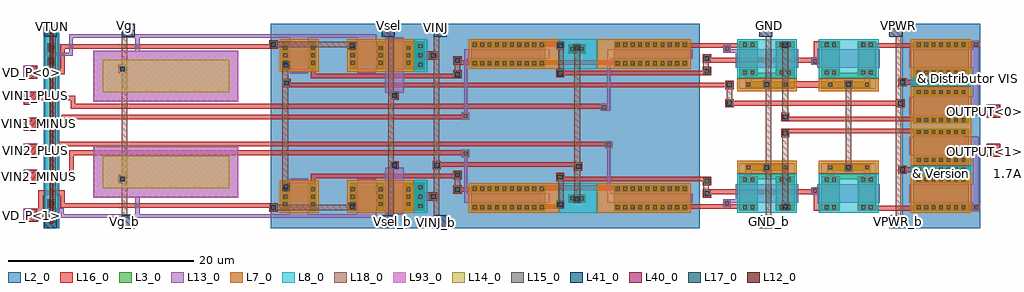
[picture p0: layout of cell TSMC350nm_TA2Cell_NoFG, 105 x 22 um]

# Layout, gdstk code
from math import pi, radians
import gdstk
lib = gdstk.Library(unit=1e-6, precision=1e-09)
def R(c, l, rs):  # rectangles x0, y0, x1, y1
    for r in rs: c.add(gdstk.rectangle(r[:2], r[2:], *l))
def A(c, l, x, y, w, h, nx, ny, dx, dy):  # array of equal rectangles
    R(c, l, [(x+i*dx, y+j*dy, x+i*dx+w, y+j*dy+h) for i in range(nx) for j in range(ny)])
L2_0 = (2, 0)
L3_0 = (3, 0)
L7_0 = (7, 0)
L8_0 = (8, 0)
L12_0 = (12, 0)
L13_0 = (13, 0)
L14_0 = (14, 0)
L15_0 = (15, 0)
L16_0 = (16, 0)
L17_0 = (17, 0)
L18_0 = (18, 0)
L40_0 = (40, 0)
L41_0 = (41, 0)
L93_0 = (93, 0)

nch_cdns_748019231870 = lib.new_cell('nch_CDNS_748019231870')
R(nch_cdns_748019231870, L3_0, [(-0.85,0,-0.15,2), (-0.85,0,-0.15,2), (-0.15,0,2.15,2), (2.15,0,2.85,2), (2.15,0,2.85,2)])
R(nch_cdns_748019231870, L8_0, [(-1.1,-0.25,3.1,2.25)])
R(nch_cdns_748019231870, L13_0, [(0,-0.4,2,2.4)])
R(nch_cdns_748019231870, L15_0, [(-0.7,0.4,-0.3,0.8), (2.3,0.4,2.7,0.8), (-0.7,1.2,-0.3,1.6), (2.3,1.2,2.7,1.6)])
R(nch_cdns_748019231870, L16_0, [(-0.85,0,-0.15,2), (2.15,0,2.85,2)])
nch_cdns_748019231870.add(gdstk.Label('D', (2.5,1), layer=59, texttype=0))
nch_cdns_748019231870.add(gdstk.Label('S', (-0.5,1), layer=59, texttype=0))
nch_cdns_748019231870.add(gdstk.Label('G', (1,1), layer=59, texttype=0))
nch_cdns_748019231870.add(gdstk.Label('& SerialNumber 000000', (0,0), layer=16, texttype=0))
nch_cdns_748019231870.add(gdstk.Label('& Distributor VIS', (0,0), layer=16, texttype=0))
nch_cdns_748019231870.add(gdstk.Label('& Metric 1', (0,0), layer=16, texttype=0))
nch_cdns_748019231870.add(gdstk.Label('& Version    \t  1.7A', (0,0), layer=16, texttype=0))
nch_cdns_748019231870.add(gdstk.Label('& PDKName     vis35cv', (0,0), layer=16, texttype=0))
nch_cdns_748019231870.add(gdstk.Label('& Vendor VIS Corp.', (0,0), layer=16, texttype=0))
nch_cdns_748019231870.add(gdstk.Label('& SerialNumber 000000', (0,0), layer=63, texttype=63))
nch_cdns_748019231870.add(gdstk.Label('& Distributor VIS', (0,0), layer=63, texttype=63))
nch_cdns_748019231870.add(gdstk.Label('& Metric 1', (0,0), layer=63, texttype=63))
nch_cdns_748019231870.add(gdstk.Label('& Version    \t  1.7A', (0,0), layer=63, texttype=63))
nch_cdns_748019231870.add(gdstk.Label('& PDKName     vis35cv', (0,0), layer=63, texttype=63))
nch_cdns_748019231870.add(gdstk.Label('& Vendor VIS Corp.', (0,0), layer=63, texttype=63))

pch_cdns_748019231871 = lib.new_cell('pch_CDNS_748019231871')
R(pch_cdns_748019231871, L2_0, [(-2.05,-1.2,3.05,9.2)])
R(pch_cdns_748019231871, L3_0, [(-0.85,0,-0.15,8), (-0.85,0,-0.15,8), (-0.15,0,1.15,8), (1.15,0,1.85,8), (1.15,0,1.85,8)])
R(pch_cdns_748019231871, L7_0, [(-1.1,-0.25,2.1,8.25)])
R(pch_cdns_748019231871, L13_0, [(0,-0.4,1,8.4)])
A(pch_cdns_748019231871, L15_0, -0.7, 0.2, 0.4, 0.4, 1, 10, 0, 0.8)
A(pch_cdns_748019231871, L15_0, 1.3, 0.2, 0.4, 0.4, 1, 10, 0, 0.8)
R(pch_cdns_748019231871, L16_0, [(-0.85,0,-0.15,8), (1.15,0,1.85,8)])
pch_cdns_748019231871.add(gdstk.Label('D', (1.5,4), layer=59, texttype=0))
pch_cdns_748019231871.add(gdstk.Label('S', (-0.5,4), layer=59, texttype=0))
pch_cdns_748019231871.add(gdstk.Label('G', (0.5,4), layer=59, texttype=0))
pch_cdns_748019231871.add(gdstk.Label('& SerialNumber 000000', (0,0), layer=16, texttype=0))
pch_cdns_748019231871.add(gdstk.Label('& Distributor VIS', (0,0), layer=16, texttype=0))
pch_cdns_748019231871.add(gdstk.Label('& Metric 1', (0,0), layer=16, texttype=0))
pch_cdns_748019231871.add(gdstk.Label('& Version    \t  1.7A', (0,0), layer=16, texttype=0))
pch_cdns_748019231871.add(gdstk.Label('& PDKName     vis35cv', (0,0), layer=16, texttype=0))
pch_cdns_748019231871.add(gdstk.Label('& Vendor VIS Corp.', (0,0), layer=16, texttype=0))
pch_cdns_748019231871.add(gdstk.Label('& SerialNumber 000000', (0,0), layer=63, texttype=63))
pch_cdns_748019231871.add(gdstk.Label('& Distributor VIS', (0,0), layer=63, texttype=63))
pch_cdns_748019231871.add(gdstk.Label('& Metric 1', (0,0), layer=63, texttype=63))
pch_cdns_748019231871.add(gdstk.Label('& Version    \t  1.7A', (0,0), layer=63, texttype=63))
pch_cdns_748019231871.add(gdstk.Label('& PDKName     vis35cv', (0,0), layer=63, texttype=63))
pch_cdns_748019231871.add(gdstk.Label('& Vendor VIS Corp.', (0,0), layer=63, texttype=63))

pch_cdns_748019231872 = lib.new_cell('pch_CDNS_748019231872')
R(pch_cdns_748019231872, L2_0, [(-2.05,-1.2,4.05,4.2)])
R(pch_cdns_748019231872, L3_0, [(-0.85,0,-0.15,3), (-0.85,0,-0.15,3), (-0.15,0,2.15,3), (2.15,0,2.85,3), (2.15,0,2.85,3)])
R(pch_cdns_748019231872, L7_0, [(-1.1,-0.25,3.1,3.25)])
R(pch_cdns_748019231872, L13_0, [(0,-0.4,2,3.4)])
A(pch_cdns_748019231872, L15_0, -0.7, 0.5, 0.4, 0.4, 1, 3, 0, 0.8)
A(pch_cdns_748019231872, L15_0, 2.3, 0.5, 0.4, 0.4, 1, 3, 0, 0.8)
R(pch_cdns_748019231872, L16_0, [(-0.85,0,-0.15,3), (2.15,0,2.85,3)])
pch_cdns_748019231872.add(gdstk.Label('D', (2.5,1.5), layer=59, texttype=0))
pch_cdns_748019231872.add(gdstk.Label('S', (-0.5,1.5), layer=59, texttype=0))
pch_cdns_748019231872.add(gdstk.Label('G', (1,1.5), layer=59, texttype=0))
pch_cdns_748019231872.add(gdstk.Label('& SerialNumber 000000', (0,0), layer=16, texttype=0))
pch_cdns_748019231872.add(gdstk.Label('& Distributor VIS', (0,0), layer=16, texttype=0))
pch_cdns_748019231872.add(gdstk.Label('& Metric 1', (0,0), layer=16, texttype=0))
pch_cdns_748019231872.add(gdstk.Label('& Version    \t  1.7A', (0,0), layer=16, texttype=0))
pch_cdns_748019231872.add(gdstk.Label('& PDKName     vis35cv', (0,0), layer=16, texttype=0))
pch_cdns_748019231872.add(gdstk.Label('& Vendor VIS Corp.', (0,0), layer=16, texttype=0))
pch_cdns_748019231872.add(gdstk.Label('& SerialNumber 000000', (0,0), layer=63, texttype=63))
pch_cdns_748019231872.add(gdstk.Label('& Distributor VIS', (0,0), layer=63, texttype=63))
pch_cdns_748019231872.add(gdstk.Label('& Metric 1', (0,0), layer=63, texttype=63))
pch_cdns_748019231872.add(gdstk.Label('& Version    \t  1.7A', (0,0), layer=63, texttype=63))
pch_cdns_748019231872.add(gdstk.Label('& PDKName     vis35cv', (0,0), layer=63, texttype=63))
pch_cdns_748019231872.add(gdstk.Label('& Vendor VIS Corp.', (0,0), layer=63, texttype=63))

pch_cdns_748019231873 = lib.new_cell('pch_CDNS_748019231873')
R(pch_cdns_748019231873, L2_0, [(-2.05,-1.2,7.05,4.2)])
A(pch_cdns_748019231873, L3_0, -0.85, 0, 0.7, 3, 3, 1, 3, 0)
R(pch_cdns_748019231873, L3_0, [(-0.85,0,-0.15,3), (-0.15,0,2.15,3), (2.85,0,5.15,3), (5.15,0,5.85,3)])
R(pch_cdns_748019231873, L7_0, [(-1.1,-0.25,6.1,3.25)])
R(pch_cdns_748019231873, L13_0, [(0,-0.4,2,3.4), (3,-0.4,5,3.4)])
A(pch_cdns_748019231873, L15_0, -0.7, 0.5, 0.4, 0.4, 3, 3, 3, 0.8)
A(pch_cdns_748019231873, L16_0, -0.85, 0, 0.7, 3, 3, 1, 3, 0)
pch_cdns_748019231873.add(gdstk.Label('D', (2.5,1.5), layer=59, texttype=0))
pch_cdns_748019231873.add(gdstk.Label('S', (-0.5,1.5), layer=59, texttype=0))
pch_cdns_748019231873.add(gdstk.Label('S', (5.5,1.5), layer=59, texttype=0))
pch_cdns_748019231873.add(gdstk.Label('G', (4,1.5), layer=59, texttype=0))
pch_cdns_748019231873.add(gdstk.Label('G', (1,1.5), layer=59, texttype=0))
pch_cdns_748019231873.add(gdstk.Label('& SerialNumber 000000', (0,0), layer=16, texttype=0))
pch_cdns_748019231873.add(gdstk.Label('& Distributor VIS', (0,0), layer=16, texttype=0))
pch_cdns_748019231873.add(gdstk.Label('& Metric 1', (0,0), layer=16, texttype=0))
pch_cdns_748019231873.add(gdstk.Label('& Version    \t  1.7A', (0,0), layer=16, texttype=0))
pch_cdns_748019231873.add(gdstk.Label('& PDKName     vis35cv', (0,0), layer=16, texttype=0))
pch_cdns_748019231873.add(gdstk.Label('& Vendor VIS Corp.', (0,0), layer=16, texttype=0))
pch_cdns_748019231873.add(gdstk.Label('& SerialNumber 000000', (0,0), layer=63, texttype=63))
pch_cdns_748019231873.add(gdstk.Label('& Distributor VIS', (0,0), layer=63, texttype=63))
pch_cdns_748019231873.add(gdstk.Label('& Metric 1', (0,0), layer=63, texttype=63))
pch_cdns_748019231873.add(gdstk.Label('& Version    \t  1.7A', (0,0), layer=63, texttype=63))
pch_cdns_748019231873.add(gdstk.Label('& PDKName     vis35cv', (0,0), layer=63, texttype=63))
pch_cdns_748019231873.add(gdstk.Label('& Vendor VIS Corp.', (0,0), layer=63, texttype=63))

m1_poly1_cdns_7480192318 = lib.new_cell('M1_POLY1_CDNS_748019231870')
R(m1_poly1_cdns_7480192318, L13_0, [(-0.4,-0.4,0.4,0.4)])
R(m1_poly1_cdns_7480192318, L15_0, [(-0.2,-0.2,0.2,0.2)])
R(m1_poly1_cdns_7480192318, L16_0, [(-0.35,-0.35,0.35,0.35)])

m2_m1_cdns_748019231871 = lib.new_cell('M2_M1_CDNS_748019231871')
R(m2_m1_cdns_748019231871, L16_0, [(-0.45,-0.45,0.45,0.45)])
R(m2_m1_cdns_748019231871, L17_0, [(-0.25,-0.25,0.25,0.25)])
R(m2_m1_cdns_748019231871, L18_0, [(-0.4,-0.4,0.4,0.4)])

m1_pactive_cdns_74801923 = lib.new_cell('M1_PACTIVE_CDNS_748019231872')
R(m1_pactive_cdns_74801923, L3_0, [(-0.45,-0.45,0.45,0.45)])
R(m1_pactive_cdns_74801923, L7_0, [(-0.7,-0.7,0.7,0.7)])
R(m1_pactive_cdns_74801923, L15_0, [(-0.2,-0.2,0.2,0.2)])
R(m1_pactive_cdns_74801923, L16_0, [(-0.35,-0.35,0.35,0.35)])

m1_nactive_cdns_74801923 = lib.new_cell('M1_NACTIVE_CDNS_748019231873')
R(m1_nactive_cdns_74801923, L3_0, [(-0.95,-0.45,0.95,0.45)])
R(m1_nactive_cdns_74801923, L8_0, [(-1.2,-0.7,1.2,0.7)])
R(m1_nactive_cdns_74801923, L15_0, [(-0.7,-0.2,-0.3,0.2), (0.3,-0.2,0.7,0.2)])
R(m1_nactive_cdns_74801923, L16_0, [(-0.85,-0.35,0.85,0.35)])

c_m1_nactive_cdns_74801923 = lib.new_cell('M1_NACTIVE_CDNS_748019231874')
R(c_m1_nactive_cdns_74801923, L3_0, [(-0.45,-1.45,0.45,1.45)])
R(c_m1_nactive_cdns_74801923, L8_0, [(-0.7,-1.7,0.7,1.7)])
A(c_m1_nactive_cdns_74801923, L15_0, -0.2, -1.2, 0.4, 0.4, 1, 3, 0, 1)
R(c_m1_nactive_cdns_74801923, L16_0, [(-0.35,-1.35,0.35,1.35)])

c_m1_poly1_cdns_7480192318 = lib.new_cell('M1_POLY1_CDNS_748019231875')
R(c_m1_poly1_cdns_7480192318, L13_0, [(-0.4,-0.4,0.4,0.4)])
R(c_m1_poly1_cdns_7480192318, L15_0, [(-0.2,-0.2,0.2,0.2)])
R(c_m1_poly1_cdns_7480192318, L16_0, [(-0.45,-0.45,0.45,0.45)])

tsmc350nm_ta2cell_nofg = lib.new_cell('TSMC350nm_TA2Cell_NoFG')
R(tsmc350nm_ta2cell_nofg, L2_0, [(2.1,0,3.8,11.02), (26.555,0,72.68,22), (94.46,0,102.86,8.26), (94.46,6.54,102.86,12.05), (94.46,10.1,102.86,15.61), (2.1,11.02,3.8,22), (94.46,13.74,102.86,22)])
R(tsmc350nm_ta2cell_nofg, L3_0, [(2.6,0.88,3.3,1.58), (41.72,1.9,43.12,4.9), (95.66,1.9,101.66,2.6), (95.66,1.9,101.66,2.6), (2.6,2.33,3.3,3.03), (95.66,2.6,101.66,4.9), (95.66,4.9,101.66,5.6), (95.66,4.9,101.66,5.6), (76.96,5.28,82.9,7), (85.75,5.28,91.69,7), (95.66,5.58,101.66,7.04), (95.66,7,101.66,7.7), (95.66,7,101.66,7.7), (95.66,7.7,101.66,10), (95.66,10,101.66,10.7), (95.66,10,101.66,10.7), (95.66,11.3,101.66,12), (95.66,11.3,101.66,12), (95.66,12,101.66,14.3), (95.66,14.3,101.66,15), (95.66,14.3,101.66,15), (95.66,14.96,101.66,16.42), (76.96,15,82.9,16.72), (85.75,15,91.69,16.72), (95.66,16.4,101.66,17.1), (95.66,16.4,101.66,17.1), (41.72,17.1,43.12,20.1), (95.66,17.1,101.66,19.4), (2.6,17.65,3.3,18.35), (2.6,19.1,3.3,19.8), (95.66,19.4,101.66,20.1), (95.66,19.4,101.66,20.1)])
R(tsmc350nm_ta2cell_nofg, L7_0, [(56.34,1.65,57.57,4.85), (61.62,1.65,63.23,4.85), (95.41,1.65,101.91,5.85), (76.71,5.85,83.15,7.25), (85.5,5.85,91.94,7.25), (95.41,6.75,101.91,10.95), (95.41,10.92,101.91,15.25), (76.71,14.75,83.15,16.15), (85.5,14.75,91.94,16.15), (95.41,16.15,101.91,20.35), (56.34,17.15,57.57,20.35), (61.62,17.15,63.23,20.35)])
R(tsmc350nm_ta2cell_nofg, L8_0, [(2.25,0,3.65,11.02), (41.97,1.65,43.37,1.7), (57.57,1.65,61.62,4.85), (79.21,1.65,80.65,5.85), (88,1.65,89.44,5.85), (41.97,5.1,43.37,5.15), (95.41,5.85,101.91,6.75), (2.25,11.02,3.65,22), (95.41,15.25,101.91,16.15), (79.21,16.15,80.65,20.35), (88,16.15,89.44,20.35), (41.97,16.85,43.37,16.9), (57.57,17.15,61.62,20.35), (41.97,20.3,43.37,20.35)])
R(tsmc350nm_ta2cell_nofg, L12_0, [(2.75,0.56,3.15,10.71), (2.75,11.32,3.15,21.47)])
R(tsmc350nm_ta2cell_nofg, L13_0, [(27.07,1.15,37.87,1.5), (11.975,1.455,12.475,3.3), (102.05,1.89,102.73,9.86), (47.34,2.75,47.69,7.925), (62.73,2.75,63.08,8.88), (75.89,2.75,76.56,3.1), (79.33,2.75,80.7,4.75), (88.12,2.75,89.49,4.75), (95.26,2.75,102.06,4.75), (7.475,3.3,23.075,8.8), (10.215,4.9,11.015,5.7), (38.87,5.3,40.87,6.53), (95.26,7.85,102.06,9.85), (47.34,11.885,47.69,19.25), (102.05,12.14,102.73,20.08), (95.26,12.15,102.06,14.15), (62.73,12.62,63.08,19.25), (7.475,13.615,23.075,19.115), (38.87,14.59,40.87,16.7), (10.215,16.715,11.015,17.515), (79.33,17.25,80.7,19.25), (88.12,17.25,89.49,19.25), (95.26,17.25,102.06,19.25), (11.975,18.755,12.475,20.6), (75.89,18.9,76.56,19.25), (27.07,20.5,37.87,20.85)])
R(tsmc350nm_ta2cell_nofg, L14_0, [(8.475,4.3,22.075,7.8), (8.475,14.615,22.075,18.115)])
A(tsmc350nm_ta2cell_nofg, L15_0, 96.06, 2.05, 0.4, 0.4, 7, 2, 0.8, 3)
A(tsmc350nm_ta2cell_nofg, L15_0, 96.06, 6.1, 0.4, 0.4, 7, 2, 0.8, 1.05)
A(tsmc350nm_ta2cell_nofg, L15_0, 96.06, 10.15, 0.4, 0.4, 7, 2, 0.8, 1.3)
A(tsmc350nm_ta2cell_nofg, L15_0, 96.06, 14.45, 0.4, 0.4, 7, 3, 0.8, 1.05)
A(tsmc350nm_ta2cell_nofg, L15_0, 96.06, 19.55, 0.4, 0.4, 7, 1, 0.8, 0)
R(tsmc350nm_ta2cell_nofg, L15_0, [(2.75,1.03,3.15,1.43), (2.75,2.48,3.15,2.88), (10.415,5.1,10.815,5.5), (10.415,16.915,10.815,17.315), (2.75,17.8,3.15,18.2), (2.75,19.25,3.15,19.65)])
A(tsmc350nm_ta2cell_nofg, L16_0, 0, 4.9, 1.4, 1.4, 1, 5, 0, 2.8)
R(tsmc350nm_ta2cell_nofg, L16_0, [(0,0.7,1.55,2.1), (2.5,0.78,3.4,1.68), (2.5,0.78,3.4,1.68), (84.94,1.9,85.79,2.6), (91.69,1.9,95.68,2.4), (95.66,1.9,101.66,2.6), (101.66,1.9,102.63,2.6), (41.72,2.05,42.32,4.75), (84.94,2.07,85.44,3.68), (56.09,2.1,58.12,2.6), (71.38,2.1,76.97,2.6), (2.5,2.23,3.4,3.13), (2.5,2.23,3.4,3.13), (43.005,2.96,43.57,3.86), (73.01,3.68,84.74,4.18), (46.74,3.9,48.09,4.4), (56.09,4.1,63.48,4.6), (10.165,4.85,11.065,5.75), (10.165,4.85,11.065,5.75), (95.66,4.9,101.66,5.6), (57.5,5.05,73.19,5.55), (81.56,5.52,82.26,6.26), (81.56,5.52,82.26,6.26), (90.35,5.52,91.05,6.26), (77.6,5.58,78.3,6.26), (77.6,5.58,78.3,6.26), (86.39,5.58,87.09,6.26), (95.66,5.59,101.66,7.03), (94.06,5.84,94.96,6.74), (94.26,6.04,95.66,6.54), (78.05,6.2,81.74,6.9), (86.84,6.2,90.53,6.9), (44.085,6.61,59.67,7.11), (95.66,7,101.66,7.7), (103.6,7.7,105,9.1), (4.925,7.88,47.17,8.38), (4.005,8.83,62.565,9.33), (95.66,10,101.66,10.7), (81.63,10.2,95.66,10.7), (95.66,11.3,101.66,12), (81.63,11.5,95.66,12), (4.355,11.72,47.14,12.22), (103.6,11.9,105,13.3), (5.16,12.87,62.08,13.37), (95.66,14.3,101.66,15), (95.66,14.97,101.66,16.41), (78.05,15.1,86.5,15.8), (86.84,15.1,90.53,15.8), (27.89,15.17,74.67,15.67), (94.06,15.25,94.96,16.15), (94.26,15.45,95.66,15.95), (77.6,15.74,78.3,16.42), (81.56,15.74,82.26,16.48), (86.39,15.74,87.09,16.42), (90.35,15.74,91.05,16.48), (95.66,16.4,101.66,17.1), (57.5,16.45,73.19,16.95), (10.165,16.665,11.065,17.565), (10.165,16.665,11.065,17.565), (41.72,17.25,42.32,19.95), (2.5,17.55,3.4,18.45), (2.5,17.55,3.4,18.45), (46.74,17.6,48.09,18.1), (56.09,17.6,63.48,18.1), (73.01,17.82,84.74,18.32), (43.005,18.14,43.57,19.04), (84.94,18.32,85.44,19.93), (2.5,19,3.4,19.9), (71.38,19.4,76.97,19.9), (84.94,19.4,85.79,20.1), (91.69,19.4,95.68,19.9), (95.66,19.4,101.66,20.1), (101.66,19.4,102.8,20.1), (56.09,19.6,58.12,20.1)])
R(tsmc350nm_ta2cell_nofg, L17_0, [(2.7,0.98,3.2,1.48), (2.7,2.43,3.2,2.93), (10.365,5.05,10.865,5.55), (94.26,6.04,94.76,6.54), (94.26,15.45,94.76,15.95), (10.365,16.865,10.865,17.365), (2.7,17.75,3.2,18.25), (2.7,19.2,3.2,19.7)])
R(tsmc350nm_ta2cell_nofg, L18_0, [(2.1,0,3.5,1.395), (10.5,0,11.9,1.4), (10.5,0,11.1,22), (38.5,0,39.9,1.4), (39.2,0,39.8,22), (44.1,0,45.5,1.4), (44.1,0,44.7,22), (79.1,0,80.5,1.4), (79.8,0,80.4,22), (93.1,0,94.5,1.4), (93.8,0,94.4,22), (2.55,0.83,3.35,1.63), (27.225,1.95,34.87,2.55), (57.49,2.27,58.09,5.1), (2.55,2.28,3.35,3.08), (81.6,2.28,82.2,10.14), (59.22,3.06,59.82,19.16), (73.06,4.13,73.66,5.17), (27.805,4.85,28.405,17.215), (10.215,4.9,11.015,5.7), (94.11,5.89,94.91,6.69), (88.42,6.37,89.02,15.8), (81.6,12.08,82.2,19.94), (94.11,15.3,94.91,16.1), (10.215,16.715,11.015,17.515), (57.49,16.73,58.09,19.93), (73.06,16.83,73.66,17.87), (2.55,17.6,3.35,18.4), (2.55,19.05,3.35,19.85), (27.225,19.45,34.87,20.05), (10.5,20.6,11.9,22), (38.5,20.6,39.9,22), (44.1,20.6,45.5,22), (79.1,20.6,80.5,22), (93.1,20.6,94.5,22), (2.1,20.605,3.5,22)])
A(tsmc350nm_ta2cell_nofg, L40_0, 0, 4.9, 1.4, 1.4, 1, 5, 0, 2.8)
R(tsmc350nm_ta2cell_nofg, L40_0, [(0,0.7,1.395,2.1), (103.6,7.7,105,9.1), (103.6,11.9,105,13.3)])
R(tsmc350nm_ta2cell_nofg, L41_0, [(2.1,0,3.5,1.395), (10.5,0,11.9,1.4), (38.5,0,39.9,1.4), (44.1,0,45.5,1.4), (79.1,0,80.5,1.4), (93.1,0,94.5,1.4), (10.5,20.6,11.9,22), (38.5,20.6,39.9,22), (44.1,20.6,45.5,22), (79.1,20.6,80.5,22), (93.1,20.6,94.5,22), (2.1,20.605,3.5,22)])
R(tsmc350nm_ta2cell_nofg, L93_0, [(7.525,3.35,23.025,8.75), (7.525,13.665,23.025,19.065)])
tsmc350nm_ta2cell_nofg.add(gdstk.FlexPath([(101.41,8.4),(105,8.4)], 0.5, ends=(0.25, 0), simple_path=True, layer=16, datatype=0))  # L16_0
tsmc350nm_ta2cell_nofg.add(gdstk.FlexPath([(26.84,19.75),(26.84,19.55)], 0.9, ends=(0, 0.25), simple_path=True, layer=16, datatype=0))  # L16_0
tsmc350nm_ta2cell_nofg.add(gdstk.FlexPath([(101.41,11.65),(101.41,12.6)], 0.5, ends=(0.35, 0.25), simple_path=True, layer=16, datatype=0))  # L16_0
tsmc350nm_ta2cell_nofg.add(gdstk.FlexPath([(101.41,10),(101.41,8.4)], 0.5, ends=(0, 0.25), simple_path=True, layer=16, datatype=0))  # L16_0
tsmc350nm_ta2cell_nofg.add(gdstk.FlexPath([(4.01,8.4),(0,8.4)], 0.5, ends=(0.25, 0), simple_path=True, layer=16, datatype=0))  # L16_0
tsmc350nm_ta2cell_nofg.add(gdstk.FlexPath([(4.01,9.08),(4.01,8.4)], 0.5, ends="extended", simple_path=True, layer=16, datatype=0))  # L16_0
tsmc350nm_ta2cell_nofg.add(gdstk.FlexPath([(5.1,5.6),(0,5.6)], 0.5, ends=(0.25, 0), simple_path=True, layer=16, datatype=0))  # L16_0
tsmc350nm_ta2cell_nofg.add(gdstk.FlexPath([(5,8.13),(5.1,8.13)], 0.5, ends=(0, 0.25), simple_path=True, layer=16, datatype=0))  # L16_0
tsmc350nm_ta2cell_nofg.add(gdstk.FlexPath([(4.31,11.2),(0,11.2)], 0.5, ends=(0.25, 0), simple_path=True, layer=16, datatype=0))  # L16_0
tsmc350nm_ta2cell_nofg.add(gdstk.FlexPath([(5.1,8.13),(5.1,5.6)], 0.5, ends="extended", simple_path=True, layer=16, datatype=0))  # L16_0
tsmc350nm_ta2cell_nofg.add(gdstk.FlexPath([(1.8,3.83),(1.8,1.4)], 0.5, ends="extended", simple_path=True, layer=16, datatype=0))  # L16_0
tsmc350nm_ta2cell_nofg.add(gdstk.FlexPath([(1.8,1.4),(0,1.4)], 0.5, ends=(0.25, 0), simple_path=True, layer=16, datatype=0))  # L16_0
tsmc350nm_ta2cell_nofg.add(gdstk.FlexPath([(101.41,12.6),(105,12.6)], 0.5, ends=(0.25, 0), simple_path=True, layer=16, datatype=0))  # L16_0
tsmc350nm_ta2cell_nofg.add(gdstk.FlexPath([(75.88,13.45),(94.54,13.45)], 0.5, ends="flush", simple_path=True, layer=16, datatype=0))  # L16_0
tsmc350nm_ta2cell_nofg.add(gdstk.FlexPath([(74.67,15.42),(75.88,15.42)], 0.5, ends="flush", simple_path=True, layer=16, datatype=0))  # L16_0
tsmc350nm_ta2cell_nofg.add(gdstk.FlexPath([(31.08,5.63),(31.08,4.86)], 0.5, ends=(0.25, 0), simple_path=True, layer=16, datatype=0))  # L16_0
tsmc350nm_ta2cell_nofg.add(gdstk.FlexPath([(46.63,5.63),(31.08,5.63)], 0.5, ends=(0, 0.25), simple_path=True, layer=16, datatype=0))  # L16_0
tsmc350nm_ta2cell_nofg.add(gdstk.FlexPath([(46.74,4.15),(46.63,4.15)], 0.5, ends="flush", simple_path=True, layer=16, datatype=0))  # L16_0
tsmc350nm_ta2cell_nofg.add(gdstk.FlexPath([(26.84,19.55),(4.13,19.55)], 0.5, ends=(0.45, 0.25), simple_path=True, layer=16, datatype=0))  # L16_0
tsmc350nm_ta2cell_nofg.add(gdstk.FlexPath([(4.13,19.55),(4.13,16.8)], 0.5, ends="extended", simple_path=True, layer=16, datatype=0))  # L16_0
tsmc350nm_ta2cell_nofg.add(gdstk.FlexPath([(4.13,16.8),(0,16.8)], 0.5, ends=(0.25, 0), simple_path=True, layer=16, datatype=0))  # L16_0
tsmc350nm_ta2cell_nofg.add(gdstk.FlexPath([(26.84,2.45),(4.13,2.45)], 0.5, ends=(0.45, 0.25), simple_path=True, layer=16, datatype=0))  # L16_0
tsmc350nm_ta2cell_nofg.add(gdstk.FlexPath([(5.27,13.12),(5.29,13.12)], 0.5, ends=(0, 0.25), simple_path=True, layer=16, datatype=0))  # L16_0
tsmc350nm_ta2cell_nofg.add(gdstk.FlexPath([(4.13,3.83),(1.8,3.83)], 0.5, ends="extended", simple_path=True, layer=16, datatype=0))  # L16_0
tsmc350nm_ta2cell_nofg.add(gdstk.FlexPath([(4.36,11.97),(4.31,11.97)], 0.5, ends=(0, 0.25), simple_path=True, layer=16, datatype=0))  # L16_0
tsmc350nm_ta2cell_nofg.add(gdstk.FlexPath([(5.29,13.12),(5.29,14)], 0.5, ends="extended", simple_path=True, layer=16, datatype=0))  # L16_0
tsmc350nm_ta2cell_nofg.add(gdstk.FlexPath([(4.13,2.45),(4.13,3.83)], 0.5, ends="extended", simple_path=True, layer=16, datatype=0))  # L16_0
tsmc350nm_ta2cell_nofg.add(gdstk.FlexPath([(5.29,14),(0,14)], 0.5, ends=(0.25, 0), simple_path=True, layer=16, datatype=0))  # L16_0
tsmc350nm_ta2cell_nofg.add(gdstk.FlexPath([(4.31,11.97),(4.31,11.2)], 0.5, ends="extended", simple_path=True, layer=16, datatype=0))  # L16_0
tsmc350nm_ta2cell_nofg.add(gdstk.FlexPath([(46.63,16.37),(31.08,16.37)], 0.5, ends=(0, 0.25), simple_path=True, layer=16, datatype=0))  # L16_0
tsmc350nm_ta2cell_nofg.add(gdstk.FlexPath([(46.74,17.85),(46.63,17.85)], 0.5, ends="flush", simple_path=True, layer=16, datatype=0))  # L16_0
tsmc350nm_ta2cell_nofg.add(gdstk.FlexPath([(31.08,16.37),(31.08,17.14)], 0.5, ends=(0.25, 0), simple_path=True, layer=16, datatype=0))  # L16_0
tsmc350nm_ta2cell_nofg.add(gdstk.FlexPath([(4.115,1.955),(2.34,1.955)], 0.35, ends=(0.175, 0), simple_path=True, layer=13, datatype=0))  # L13_0
tsmc350nm_ta2cell_nofg.add(gdstk.FlexPath([(4.115,1.325),(4.115,1.955)], 0.35, ends="extended", simple_path=True, layer=13, datatype=0))  # L13_0
tsmc350nm_ta2cell_nofg.add(gdstk.FlexPath([(27.07,1.325),(4.115,1.325)], 0.35, ends=(0, 0.175), simple_path=True, layer=13, datatype=0))  # L13_0
tsmc350nm_ta2cell_nofg.add(gdstk.FlexPath([(5.055,18.725),(5.055,20.675)], 0.35, ends="extended", simple_path=True, layer=13, datatype=0))  # L13_0
tsmc350nm_ta2cell_nofg.add(gdstk.FlexPath([(5.055,20.675),(27.07,20.675)], 0.35, ends=(0.175, 0), simple_path=True, layer=13, datatype=0))  # L13_0
tsmc350nm_ta2cell_nofg.add(gdstk.FlexPath([(2.35,18.725),(5.055,18.725)], 0.35, ends=(0, 0.175), simple_path=True, layer=13, datatype=0))  # L13_0
tsmc350nm_ta2cell_nofg.add(gdstk.FlexPath([(27.23,19.75),(26.84,19.75)], 0.6, ends="flush", simple_path=True, layer=18, datatype=0))  # L18_0
tsmc350nm_ta2cell_nofg.add(gdstk.FlexPath([(75.88,15.42),(75.88,13.45)], 0.6, ends="flush", simple_path=True, layer=18, datatype=0))  # L18_0
tsmc350nm_ta2cell_nofg.add(gdstk.FlexPath([(46.63,4.15),(46.63,5.71)], 0.6, ends="flush", simple_path=True, layer=18, datatype=0))  # L18_0
tsmc350nm_ta2cell_nofg.add(gdstk.FlexPath([(27.23,2.25),(26.84,2.25)], 0.6, ends="flush", simple_path=True, layer=18, datatype=0))  # L18_0
tsmc350nm_ta2cell_nofg.add(gdstk.FlexPath([(46.63,17.85),(46.63,16.29)], 0.6, ends="flush", simple_path=True, layer=18, datatype=0))  # L18_0
tsmc350nm_ta2cell_nofg.add(gdstk.FlexPath([(3.1,0),(3.1,22)], 0.6, ends="flush", simple_path=True, layer=18, datatype=0))  # L18_0
tsmc350nm_ta2cell_nofg.add(gdstk.Reference(nch_cdns_748019231870, (80.9,2.75), rotation=pi/2, x_reflection=True))
tsmc350nm_ta2cell_nofg.add(gdstk.Reference(nch_cdns_748019231870, (76.96,2.75), rotation=pi/2, x_reflection=True))
tsmc350nm_ta2cell_nofg.add(gdstk.Reference(nch_cdns_748019231870, (76.96,19.25), rotation=3*pi/2))
tsmc350nm_ta2cell_nofg.add(gdstk.Reference(nch_cdns_748019231870, (80.9,19.25), rotation=3*pi/2))
tsmc350nm_ta2cell_nofg.add(gdstk.Reference(nch_cdns_748019231870, (89.69,2.75), rotation=pi/2, x_reflection=True))
tsmc350nm_ta2cell_nofg.add(gdstk.Reference(nch_cdns_748019231870, (85.75,2.75), rotation=pi/2, x_reflection=True))
tsmc350nm_ta2cell_nofg.add(gdstk.Reference(nch_cdns_748019231870, (85.75,19.25), rotation=3*pi/2))
tsmc350nm_ta2cell_nofg.add(gdstk.Reference(nch_cdns_748019231870, (89.69,19.25), rotation=3*pi/2))
tsmc350nm_ta2cell_nofg.add(gdstk.Reference(pch_cdns_748019231871, (48.09,3.75), rotation=3*pi/2))
tsmc350nm_ta2cell_nofg.add(gdstk.Reference(pch_cdns_748019231871, (63.48,3.75), rotation=3*pi/2))
tsmc350nm_ta2cell_nofg.add(gdstk.Reference(pch_cdns_748019231871, (48.09,19.25), rotation=3*pi/2))
tsmc350nm_ta2cell_nofg.add(gdstk.Reference(pch_cdns_748019231871, (63.48,19.25), rotation=3*pi/2))
tsmc350nm_ta2cell_nofg.add(gdstk.Reference(pch_cdns_748019231872, (28.605,17.1)))
tsmc350nm_ta2cell_nofg.add(gdstk.Reference(pch_cdns_748019231872, (28.605,4.9), x_reflection=True))
tsmc350nm_ta2cell_nofg.add(gdstk.Reference(pch_cdns_748019231873, (35.87,17.1)))
tsmc350nm_ta2cell_nofg.add(gdstk.Reference(pch_cdns_748019231873, (35.87,4.9), x_reflection=True))
tsmc350nm_ta2cell_nofg.add(gdstk.Reference(m1_poly1_cdns_7480192318, (62.91,8.98)))
tsmc350nm_ta2cell_nofg.add(gdstk.Reference(m1_poly1_cdns_7480192318, (47.52,8.03)))
tsmc350nm_ta2cell_nofg.add(gdstk.Reference(m1_poly1_cdns_7480192318, (47.49,12.07)))
tsmc350nm_ta2cell_nofg.add(gdstk.Reference(m1_poly1_cdns_7480192318, (62.43,13.02)))
tsmc350nm_ta2cell_nofg.add(gdstk.Reference(m1_poly1_cdns_7480192318, (75.64,19.3)))
tsmc350nm_ta2cell_nofg.add(gdstk.Reference(m1_poly1_cdns_7480192318, (75.64,2.7), x_reflection=True))
tsmc350nm_ta2cell_nofg.add(gdstk.Reference(m1_poly1_cdns_7480192318, (85.09,17.97)))
tsmc350nm_ta2cell_nofg.add(gdstk.Reference(m1_poly1_cdns_7480192318, (102.45,2.25)))
tsmc350nm_ta2cell_nofg.add(gdstk.Reference(m1_poly1_cdns_7480192318, (85.09,4.03), x_reflection=True))
tsmc350nm_ta2cell_nofg.add(gdstk.Reference(m1_poly1_cdns_7480192318, (102.45,19.75)))
tsmc350nm_ta2cell_nofg.add(gdstk.Reference(m2_m1_cdns_748019231871, (59.62,6.66)))
tsmc350nm_ta2cell_nofg.add(gdstk.Reference(m2_m1_cdns_748019231871, (44.4,6.78)))
tsmc350nm_ta2cell_nofg.add(gdstk.Reference(m2_m1_cdns_748019231871, (35.27,2.35), x_reflection=True))
tsmc350nm_ta2cell_nofg.add(gdstk.Reference(m2_m1_cdns_748019231871, (26.84,2.25), x_reflection=True))
tsmc350nm_ta2cell_nofg.add(gdstk.Reference(m2_m1_cdns_748019231871, (26.84,19.75)))
tsmc350nm_ta2cell_nofg.add(gdstk.Reference(m2_m1_cdns_748019231871, (35.27,19.65)))
tsmc350nm_ta2cell_nofg.add(gdstk.Reference(m2_m1_cdns_748019231871, (39.85,14.27)))
tsmc350nm_ta2cell_nofg.add(gdstk.Reference(m2_m1_cdns_748019231871, (39.85,6.78)))
tsmc350nm_ta2cell_nofg.add(gdstk.Reference(m2_m1_cdns_748019231871, (94.3,13.445)))
tsmc350nm_ta2cell_nofg.add(gdstk.Reference(m2_m1_cdns_748019231871, (75.88,13.45)))
tsmc350nm_ta2cell_nofg.add(gdstk.Reference(m2_m1_cdns_748019231871, (75.88,15.42)))
tsmc350nm_ta2cell_nofg.add(gdstk.Reference(m2_m1_cdns_748019231871, (28.255,15.62)))
tsmc350nm_ta2cell_nofg.add(gdstk.Reference(m2_m1_cdns_748019231871, (28.205,4.45)))
tsmc350nm_ta2cell_nofg.add(gdstk.Reference(m2_m1_cdns_748019231871, (28.205,17.55)))
tsmc350nm_ta2cell_nofg.add(gdstk.Reference(m2_m1_cdns_748019231871, (46.63,4.15), x_reflection=True))
tsmc350nm_ta2cell_nofg.add(gdstk.Reference(m2_m1_cdns_748019231871, (46.63,5.71), x_reflection=True))
tsmc350nm_ta2cell_nofg.add(gdstk.Reference(m2_m1_cdns_748019231871, (46.63,16.57)))
tsmc350nm_ta2cell_nofg.add(gdstk.Reference(m2_m1_cdns_748019231871, (46.63,18.05)))
tsmc350nm_ta2cell_nofg.add(gdstk.Reference(m2_m1_cdns_748019231871, (44.02,3.41), x_reflection=True))
tsmc350nm_ta2cell_nofg.add(gdstk.Reference(m2_m1_cdns_748019231871, (44.02,18.59)))
tsmc350nm_ta2cell_nofg.add(gdstk.Reference(m2_m1_cdns_748019231871, (57.69,16.68), x_reflection=True))
tsmc350nm_ta2cell_nofg.add(gdstk.Reference(m2_m1_cdns_748019231871, (81.9,19.65)))
tsmc350nm_ta2cell_nofg.add(gdstk.Reference(m2_m1_cdns_748019231871, (81.9,11.95)))
tsmc350nm_ta2cell_nofg.add(gdstk.Reference(m2_m1_cdns_748019231871, (81.9,10.25), x_reflection=True))
tsmc350nm_ta2cell_nofg.add(gdstk.Reference(m2_m1_cdns_748019231871, (81.91,2.35)))
tsmc350nm_ta2cell_nofg.add(gdstk.Reference(m2_m1_cdns_748019231871, (59.51,19.39)))
tsmc350nm_ta2cell_nofg.add(gdstk.Reference(m2_m1_cdns_748019231871, (59.51,3.13)))
tsmc350nm_ta2cell_nofg.add(gdstk.Reference(m2_m1_cdns_748019231871, (73.46,18.27)))
tsmc350nm_ta2cell_nofg.add(gdstk.Reference(m2_m1_cdns_748019231871, (73.46,16.9)))
tsmc350nm_ta2cell_nofg.add(gdstk.Reference(m2_m1_cdns_748019231871, (73.46,5.1), x_reflection=True))
tsmc350nm_ta2cell_nofg.add(gdstk.Reference(m2_m1_cdns_748019231871, (88.72,6.53), x_reflection=True))
tsmc350nm_ta2cell_nofg.add(gdstk.Reference(m2_m1_cdns_748019231871, (73.46,3.73), x_reflection=True))
tsmc350nm_ta2cell_nofg.add(gdstk.Reference(m2_m1_cdns_748019231871, (57.69,19.65), x_reflection=True))
tsmc350nm_ta2cell_nofg.add(gdstk.Reference(m2_m1_cdns_748019231871, (79.93,6.53), x_reflection=True))
tsmc350nm_ta2cell_nofg.add(gdstk.Reference(m2_m1_cdns_748019231871, (79.93,15.47)))
tsmc350nm_ta2cell_nofg.add(gdstk.Reference(m2_m1_cdns_748019231871, (57.69,5.5)))
tsmc350nm_ta2cell_nofg.add(gdstk.Reference(m2_m1_cdns_748019231871, (88.72,15.47)))
tsmc350nm_ta2cell_nofg.add(gdstk.Reference(m2_m1_cdns_748019231871, (57.69,2.55)))
tsmc350nm_ta2cell_nofg.add(gdstk.Reference(m1_pactive_cdns_74801923, (90.7,6.55), x_reflection=True))
tsmc350nm_ta2cell_nofg.add(gdstk.Reference(m1_pactive_cdns_74801923, (86.74,15.45)))
tsmc350nm_ta2cell_nofg.add(gdstk.Reference(m1_pactive_cdns_74801923, (77.95,6.55), x_reflection=True))
tsmc350nm_ta2cell_nofg.add(gdstk.Reference(m1_pactive_cdns_74801923, (77.95,15.45)))
tsmc350nm_ta2cell_nofg.add(gdstk.Reference(m1_pactive_cdns_74801923, (81.91,15.45)))
tsmc350nm_ta2cell_nofg.add(gdstk.Reference(m1_pactive_cdns_74801923, (86.74,6.55), x_reflection=True))
tsmc350nm_ta2cell_nofg.add(gdstk.Reference(m1_pactive_cdns_74801923, (81.91,6.55), x_reflection=True))
tsmc350nm_ta2cell_nofg.add(gdstk.Reference(m1_pactive_cdns_74801923, (90.7,15.45)))
tsmc350nm_ta2cell_nofg.add(gdstk.Reference(m1_nactive_cdns_74801923, (59.51,19.29)))
tsmc350nm_ta2cell_nofg.add(gdstk.Reference(m1_nactive_cdns_74801923, (59.51,3.23)))
tsmc350nm_ta2cell_nofg.add(gdstk.Reference(c_m1_nactive_cdns_74801923, (42.67,3.4), x_reflection=True))
tsmc350nm_ta2cell_nofg.add(gdstk.Reference(c_m1_nactive_cdns_74801923, (42.67,18.6)))
tsmc350nm_ta2cell_nofg.add(gdstk.Reference(c_m1_poly1_cdns_7480192318, (39.85,14.27)))
tsmc350nm_ta2cell_nofg.add(gdstk.Reference(c_m1_poly1_cdns_7480192318, (39.85,6.78)))
tsmc350nm_ta2cell_nofg.add(gdstk.Label('VIN2_MINUS', (0.995,5.62), layer=40, texttype=0))
tsmc350nm_ta2cell_nofg.add(gdstk.Label('VD_P<0>', (0.555,16.805), layer=40, texttype=0))
tsmc350nm_ta2cell_nofg.add(gdstk.Label('OUTPUT<0>', (104.045,12.59), layer=40, texttype=0))
tsmc350nm_ta2cell_nofg.add(gdstk.Label('VD_P<1>', (0.69,1.375), layer=40, texttype=0))
tsmc350nm_ta2cell_nofg.add(gdstk.Label('VIN1_MINUS', (0.95,11.225), layer=40, texttype=0))
tsmc350nm_ta2cell_nofg.add(gdstk.Label('VIN1_PLUS', (0.895,14.23), layer=40, texttype=0))
tsmc350nm_ta2cell_nofg.add(gdstk.Label('VIN2_PLUS', (0.965,8.41), layer=40, texttype=0))
tsmc350nm_ta2cell_nofg.add(gdstk.Label('OUTPUT<1>', (104.16,8.27), layer=40, texttype=0))
tsmc350nm_ta2cell_nofg.add(gdstk.Label('& Distributor VIS', (101.66,16.11), layer=16, texttype=0))
tsmc350nm_ta2cell_nofg.add(gdstk.Label('& SerialNumber 000000', (101.66,16.11), layer=16, texttype=0))
tsmc350nm_ta2cell_nofg.add(gdstk.Label('& Vendor VIS Corp.', (101.66,12.15), layer=16, texttype=0))
tsmc350nm_ta2cell_nofg.add(gdstk.Label('& PDKName     vis35cv', (101.66,12.15), layer=16, texttype=0))
tsmc350nm_ta2cell_nofg.add(gdstk.Label('& Version    \t  1.7A', (101.66,12.15), layer=16, texttype=0))
tsmc350nm_ta2cell_nofg.add(gdstk.Label('& Metric 1', (101.66,12.15), layer=16, texttype=0))
tsmc350nm_ta2cell_nofg.add(gdstk.Label('& Distributor VIS', (101.66,12.15), layer=16, texttype=0))
tsmc350nm_ta2cell_nofg.add(gdstk.Label('& SerialNumber 000000', (101.66,12.15), layer=16, texttype=0))
tsmc350nm_ta2cell_nofg.add(gdstk.Label('& SerialNumber 000000', (101.66,9.65), layer=16, texttype=0))
tsmc350nm_ta2cell_nofg.add(gdstk.Label('& Distributor VIS', (101.66,9.65), layer=16, texttype=0))
tsmc350nm_ta2cell_nofg.add(gdstk.Label('& Metric 1', (101.66,9.65), layer=16, texttype=0))
tsmc350nm_ta2cell_nofg.add(gdstk.Label('& Version    \t  1.7A', (101.66,9.65), layer=16, texttype=0))
tsmc350nm_ta2cell_nofg.add(gdstk.Label('& PDKName     vis35cv', (101.66,9.65), layer=16, texttype=0))
tsmc350nm_ta2cell_nofg.add(gdstk.Label('& Vendor VIS Corp.', (101.66,9.65), layer=16, texttype=0))
tsmc350nm_ta2cell_nofg.add(gdstk.Label('& Vendor VIS Corp.', (101.66,17.25), layer=16, texttype=0))
tsmc350nm_ta2cell_nofg.add(gdstk.Label('& Metric 1', (101.66,17.25), layer=16, texttype=0))
tsmc350nm_ta2cell_nofg.add(gdstk.Label('& Distributor VIS', (101.66,17.25), layer=16, texttype=0))
tsmc350nm_ta2cell_nofg.add(gdstk.Label('& SerialNumber 000000', (101.66,17.25), layer=16, texttype=0))
tsmc350nm_ta2cell_nofg.add(gdstk.Label('& Vendor VIS Corp.', (101.66,16.11), layer=16, texttype=0))
tsmc350nm_ta2cell_nofg.add(gdstk.Label('& Version    \t  1.7A', (101.66,16.11), layer=16, texttype=0))
tsmc350nm_ta2cell_nofg.add(gdstk.Label('& Metric 1', (101.66,16.11), layer=16, texttype=0))
tsmc350nm_ta2cell_nofg.add(gdstk.Label('& Version    \t  1.7A', (101.66,5.89), layer=16, texttype=0))
tsmc350nm_ta2cell_nofg.add(gdstk.Label('& PDKName     vis35cv', (101.66,5.89), layer=16, texttype=0))
tsmc350nm_ta2cell_nofg.add(gdstk.Label('& Vendor VIS Corp.', (101.66,5.89), layer=16, texttype=0))
tsmc350nm_ta2cell_nofg.add(gdstk.Label('& SerialNumber 000000', (101.66,4.75), layer=16, texttype=0))
tsmc350nm_ta2cell_nofg.add(gdstk.Label('& Distributor VIS', (101.66,4.75), layer=16, texttype=0))
tsmc350nm_ta2cell_nofg.add(gdstk.Label('& Metric 1', (101.66,4.75), layer=16, texttype=0))
tsmc350nm_ta2cell_nofg.add(gdstk.Label('& Version    \t  1.7A', (101.66,4.75), layer=16, texttype=0))
tsmc350nm_ta2cell_nofg.add(gdstk.Label('& PDKName     vis35cv', (101.66,4.75), layer=16, texttype=0))
tsmc350nm_ta2cell_nofg.add(gdstk.Label('& Vendor VIS Corp.', (101.66,4.75), layer=16, texttype=0))
tsmc350nm_ta2cell_nofg.add(gdstk.Label('& SerialNumber 000000', (101.66,5.89), layer=16, texttype=0))
tsmc350nm_ta2cell_nofg.add(gdstk.Label('& Distributor VIS', (101.66,5.89), layer=16, texttype=0))
tsmc350nm_ta2cell_nofg.add(gdstk.Label('& Metric 1', (101.66,5.89), layer=16, texttype=0))
tsmc350nm_ta2cell_nofg.add(gdstk.Label('& PDKName     vis35cv', (101.66,17.25), layer=16, texttype=0))
tsmc350nm_ta2cell_nofg.add(gdstk.Label('& Version    \t  1.7A', (101.66,17.25), layer=16, texttype=0))
tsmc350nm_ta2cell_nofg.add(gdstk.Label('& PDKName     vis35cv', (101.66,16.11), layer=16, texttype=0))
tsmc350nm_ta2cell_nofg.add(gdstk.Label('& Metric 1', (101.66,17.25), layer=63, texttype=63))
tsmc350nm_ta2cell_nofg.add(gdstk.Label('& Distributor VIS', (101.66,17.25), layer=63, texttype=63))
tsmc350nm_ta2cell_nofg.add(gdstk.Label('& Version    \t  1.7A', (101.66,12.15), layer=63, texttype=63))
tsmc350nm_ta2cell_nofg.add(gdstk.Label('& Metric 1', (101.66,12.15), layer=63, texttype=63))
tsmc350nm_ta2cell_nofg.add(gdstk.Label('& PDKName     vis35cv', (101.66,17.25), layer=63, texttype=63))
tsmc350nm_ta2cell_nofg.add(gdstk.Label('& Version    \t  1.7A', (101.66,17.25), layer=63, texttype=63))
tsmc350nm_ta2cell_nofg.add(gdstk.Label('& Vendor VIS Corp.', (101.66,12.15), layer=63, texttype=63))
tsmc350nm_ta2cell_nofg.add(gdstk.Label('& SerialNumber 000000', (101.66,12.15), layer=63, texttype=63))
tsmc350nm_ta2cell_nofg.add(gdstk.Label('& Distributor VIS', (101.66,12.15), layer=63, texttype=63))
tsmc350nm_ta2cell_nofg.add(gdstk.Label('& Vendor VIS Corp.', (101.66,9.65), layer=63, texttype=63))
tsmc350nm_ta2cell_nofg.add(gdstk.Label('& PDKName     vis35cv', (101.66,9.65), layer=63, texttype=63))
tsmc350nm_ta2cell_nofg.add(gdstk.Label('& PDKName     vis35cv', (101.66,5.89), layer=63, texttype=63))
tsmc350nm_ta2cell_nofg.add(gdstk.Label('& Version    \t  1.7A', (101.66,5.89), layer=63, texttype=63))
tsmc350nm_ta2cell_nofg.add(gdstk.Label('& SerialNumber 000000', (101.66,17.25), layer=63, texttype=63))
tsmc350nm_ta2cell_nofg.add(gdstk.Label('& Version    \t  1.7A', (101.66,9.65), layer=63, texttype=63))
tsmc350nm_ta2cell_nofg.add(gdstk.Label('& Distributor VIS', (101.66,9.65), layer=63, texttype=63))
tsmc350nm_ta2cell_nofg.add(gdstk.Label('& Vendor VIS Corp.', (101.66,5.89), layer=63, texttype=63))
tsmc350nm_ta2cell_nofg.add(gdstk.Label('& Version    \t  1.7A', (101.66,4.75), layer=63, texttype=63))
tsmc350nm_ta2cell_nofg.add(gdstk.Label('& Metric 1', (101.66,4.75), layer=63, texttype=63))
tsmc350nm_ta2cell_nofg.add(gdstk.Label('& Distributor VIS', (101.66,4.75), layer=63, texttype=63))
tsmc350nm_ta2cell_nofg.add(gdstk.Label('& Vendor VIS Corp.', (101.66,16.11), layer=63, texttype=63))
tsmc350nm_ta2cell_nofg.add(gdstk.Label('& Version    \t  1.7A', (101.66,16.11), layer=63, texttype=63))
tsmc350nm_ta2cell_nofg.add(gdstk.Label('& Metric 1', (101.66,5.89), layer=63, texttype=63))
tsmc350nm_ta2cell_nofg.add(gdstk.Label('& Distributor VIS', (101.66,5.89), layer=63, texttype=63))
tsmc350nm_ta2cell_nofg.add(gdstk.Label('& Vendor VIS Corp.', (101.66,4.75), layer=63, texttype=63))
tsmc350nm_ta2cell_nofg.add(gdstk.Label('& SerialNumber 000000', (101.66,16.11), layer=63, texttype=63))
tsmc350nm_ta2cell_nofg.add(gdstk.Label('& PDKName     vis35cv', (101.66,12.15), layer=63, texttype=63))
tsmc350nm_ta2cell_nofg.add(gdstk.Label('& Vendor VIS Corp.', (101.66,17.25), layer=63, texttype=63))
tsmc350nm_ta2cell_nofg.add(gdstk.Label('& SerialNumber 000000', (101.66,9.65), layer=63, texttype=63))
tsmc350nm_ta2cell_nofg.add(gdstk.Label('& Distributor VIS', (101.66,16.11), layer=63, texttype=63))
tsmc350nm_ta2cell_nofg.add(gdstk.Label('& Metric 1', (101.66,16.11), layer=63, texttype=63))
tsmc350nm_ta2cell_nofg.add(gdstk.Label('& SerialNumber 000000', (101.66,5.89), layer=63, texttype=63))
tsmc350nm_ta2cell_nofg.add(gdstk.Label('& PDKName     vis35cv', (101.66,16.11), layer=63, texttype=63))
tsmc350nm_ta2cell_nofg.add(gdstk.Label('& SerialNumber 000000', (101.66,4.75), layer=63, texttype=63))
tsmc350nm_ta2cell_nofg.add(gdstk.Label('& PDKName     vis35cv', (101.66,4.75), layer=63, texttype=63))
tsmc350nm_ta2cell_nofg.add(gdstk.Label('& Metric 1', (101.66,9.65), layer=63, texttype=63))
tsmc350nm_ta2cell_nofg.add(gdstk.Label('VPWR_b', (94.095,0.77), layer=41, texttype=0))
tsmc350nm_ta2cell_nofg.add(gdstk.Label('GND_b', (80.205,0.72), layer=41, texttype=0))
tsmc350nm_ta2cell_nofg.add(gdstk.Label('VINJ_b', (44.405,0.595), layer=41, texttype=0))
tsmc350nm_ta2cell_nofg.add(gdstk.Label('Vsel_b', (39.61,0.775), layer=41, texttype=0))
tsmc350nm_ta2cell_nofg.add(gdstk.Label('Vsel', (39.17,21.82), layer=41, texttype=0))
tsmc350nm_ta2cell_nofg.add(gdstk.Label('Vg_b', (10.79,0.74), layer=41, texttype=0))
tsmc350nm_ta2cell_nofg.add(gdstk.Label('VTUN', (3.105,21.725), layer=41, texttype=0))
tsmc350nm_ta2cell_nofg.add(gdstk.Label('VINJ', (44.405,21.64), layer=41, texttype=0))
tsmc350nm_ta2cell_nofg.add(gdstk.Label('VPWR', (94.095,21.815), layer=41, texttype=0))
tsmc350nm_ta2cell_nofg.add(gdstk.Label('GND', (80.205,21.765), layer=41, texttype=0))
tsmc350nm_ta2cell_nofg.add(gdstk.Label('VTUN_b', (2.655,0.68), layer=41, texttype=0))
tsmc350nm_ta2cell_nofg.add(gdstk.Label('Vg', (10.79,21.78), layer=41, texttype=0))

lib.write_gds('TSMC350nm_TA2Cell_NoFG.gds')
